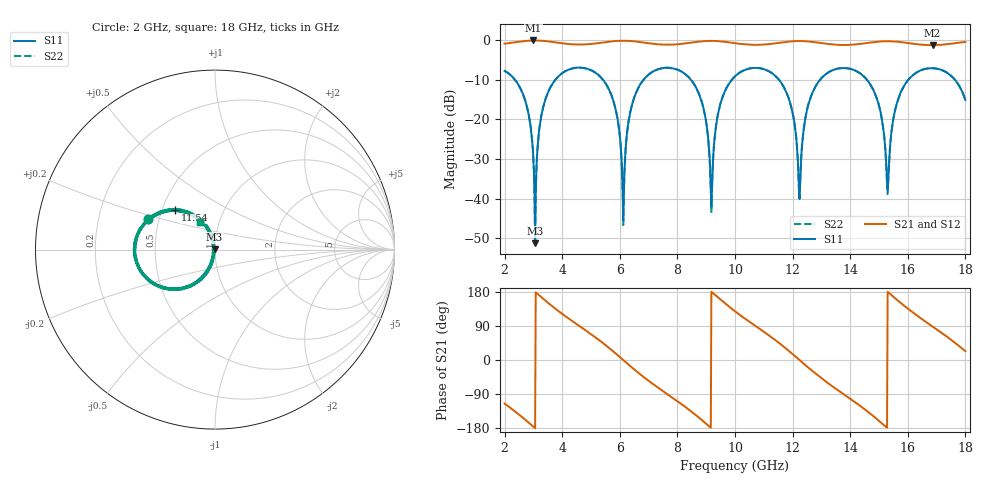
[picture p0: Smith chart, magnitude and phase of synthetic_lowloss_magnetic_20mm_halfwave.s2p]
! SYNTHETIC DEMONSTRATION DATA - generated by examples/make_synthetic_s2p.py (nrw.forward ABCD cascade)
! eps model: (4-0.004j)
! mu model: (1.5-0.003j)
! length_m: 0.02
! geometry: 7 mm coax (TEM)
! noise: circular complex Gaussian, rms 1e-3, seed 2026
# HZ S RI R 50
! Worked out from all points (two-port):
!   801 points, 2 GHz to 18 GHz, reference 50 ohm
!   highest |S21| = -0.03 dB at 3 GHz (marker M1); lowest = -1.2 dB at 16.86 GHz (marker M2)
!   |S21| within 3 dB of the highest: start of sweep to end of sweep
!   lowest |S11| = -51.3 dB at 3.06 GHz (marker M3), VSWR 1.01, Z = 49.7 + j0.0665 ohm
!   |S11| at or under -10 dB: 5.419 GHz to 6.822 GHz (1.403 GHz wide, 22.9 % of centre); 8.471 GHz to 9.886 GHz (1.415 GHz wide, 15.4 % of centre); 11.53 GHz to 12.95 GHz (1.424 GHz wide, 11.6 % of centre)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
!   |S22| runs from -52.0 to -6.9 dB; largest |S21 - S12| = 0.0037
!   S11 on the Smith chart (normalised r, x): 2 GHz: 0.43, +0.18; 11.54 GHz: 0.58, +0.28; 18 GHz: 0.81, +0.26
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2e9  -0.3729 0.173  -0.385 -0.8222  -0.3845 -0.8222  -0.3723 0.1723
2.72e9  -0.0654 0.1585  -0.908 -0.3701  -0.909 -0.3709  -0.0671 0.1596
3e9  -0.00454 0.0304  -0.9939 -0.0694  -0.9929 -0.0691  -0.00524 0.0311
3.06e9  -0.00262 0.000669  -0.9933 -0.0002  -0.9945 -8.81e-05  -0.00248 -0.000307
3.5e9  -0.1065 -0.1897  -0.8518 0.4648  -0.8517 0.4647  -0.1053 -0.1899
4.68e9  -0.4493 0.0359  0.0725 0.8823  0.073 0.884  -0.4477 0.0369
5.7e9  -0.0983 0.1817  0.8617 0.4433  0.8617 0.4433  -0.098 0.1831
6.12e9  -0.00521 0.000329  0.9879 -0.00281  0.9893 -0.000221  -0.00456 0.000697
6.48e9  -0.0766 -0.1638  0.8922 -0.3879  0.8925 -0.3875  -0.0761 -0.1621
7.34e9  -0.4155 -0.121  0.2499 -0.8551  0.2503 -0.855  -0.4149 -0.1209
8.66e9  -0.1427 0.2034  -0.7956 -0.5264  -0.797 -0.5258  -0.1424 0.2026
9.18e9  -0.00796 0.000222  -0.9853 0.00119  -0.9834 0.00128  -0.00672 -0.000604
9.48e9  -0.0565 -0.1401  -0.9156 0.326  -0.9165 0.3261  -0.0565 -0.1407
1e10  -0.2773 -0.2149  -0.5726 0.7203  -0.5743 0.7206  -0.2772 -0.2151
1.154e10  -0.2236 0.2188  0.6665 0.6498  0.6665 0.6488  -0.2233 0.22
1.224e10  -0.00984 -0.000535  0.9791 -0.00168  0.9785 -0.00131  -0.01 -0.00106
1.268e10  -0.1085 -0.1846  0.8392 -0.4579  0.839 -0.4551  -0.1076 -0.1832
1.446e10  -0.2837 0.21  -0.5563 -0.7234  -0.5564 -0.7221  -0.2839 0.2093
1.534e10  -0.0125 -0.02  -0.9739 0.0477  -0.973 0.0457  -0.0132 -0.0203
1.576e10  -0.1195 -0.1884  -0.823 0.4716  -0.8237 0.472  -0.1181 -0.1889
1.686e10  -0.444 0.0142  0.0245 0.8693  0.0246 0.8702  -0.4441 0.0119
1.8e10  -0.0825 0.1556  0.877 0.3772  0.8768 0.3773  -0.0817 0.1564
